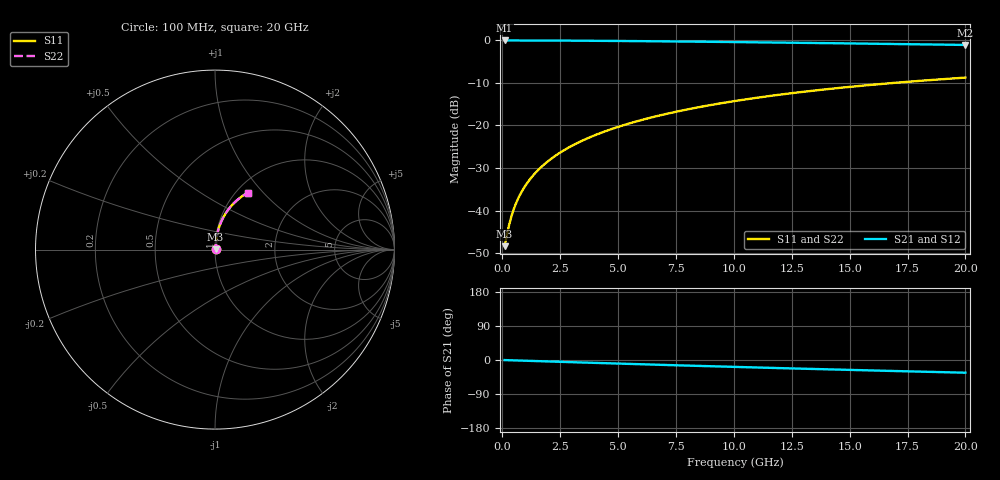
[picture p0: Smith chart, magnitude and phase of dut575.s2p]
! Touchstone file exported from HFSS 2024.1.0
!  File:  C:/UserFiles/LocalFiles/RDL_TSV_Batchsim/temp_RDL_top_575_1779681851.aedt
!  Generated:  12:06:36 PM May 25, 2026
!  Design:  RDL_top
!  Project:  temp_RDL_top_575_1779681851
!  Setup:  Setup1
!  Solution:  Sweep
! Variables:
!  dtsv = 10.80580581um
!  hbump = 3um
!  htsv = 54.47um
!  ldown = 100um
!  lrdl = 446.73um
!  p = 40
!  p1 = 44.04um
!  rhole = 1um
!  t = 450um
!  tdown = 3.915915916um
!  trdl = 3.34um
!  wdown = 15.38538539um
!  wrdl = 15.29um
# GHz S MA R 50.000000
! Terminal data exported
! Port[1] = Box2_T1
! Port[2] = Box2_T2
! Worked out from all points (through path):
!   200 points, 100 MHz to 20 GHz, reference 50 ohm
!   highest |S21| = -0.03 dB at 100 MHz (marker M1); lowest = -1.1 dB at 20 GHz (marker M2)
!   group delay of S21, straight-line fit = 4.64 ps
!   lowest |S11| = -48.3 dB at 100 MHz (marker M3), VSWR 1.01, Z = 50.3 + j0.204 ohm
!   |S11| at or under -10 dB: start of sweep to 16.91 GHz
!   |S22| runs from -48.3 to -8.8 dB; largest |S21 - S12| = 3.5e-15
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0.1  0.003825 32.0  0.9968 -0.2  0.9968 -0.2  0.003825 32.0
! Gamma 0 0 0 0
! Port Impedance 50 0 50 0
0.2  0.005224 50.5  0.9967 -0.4  0.9967 -0.4  0.005224 50.5
0.3  0.006908 60.3  0.9966 -0.6  0.9966 -0.6  0.006908 60.3
0.4  0.008685 65.9  0.9964 -0.8  0.9964 -0.8  0.008685 65.9
0.5  0.01049 69.6  0.9963 -1.0  0.9963 -1.0  0.01049 69.6
0.6  0.01232 72.2  0.9962 -1.2  0.9962 -1.2  0.01232 72.2
0.8  0.016 75.7  0.9959 -1.6  0.9959 -1.6  0.016 75.7
1.1  0.02157 78.6  0.9955 -2.1  0.9955 -2.1  0.02157 78.6
1.3  0.02531 79.8  0.9952 -2.5  0.9952 -2.5  0.02531 79.8
1.6  0.03096 81.0  0.9947 -3.1  0.9947 -3.1  0.03096 81.0
2.1  0.04044 82.0  0.9937 -4.0  0.9937 -4.0  0.04044 82.0
2.7  0.05188 82.4  0.9921 -5.2  0.9921 -5.2  0.05188 82.4
3.5  0.06724 82.4  0.9895 -6.7  0.9895 -6.7  0.06724 82.4
4.2  0.08076 82.0  0.9869 -8.0  0.9869 -8.0  0.08075 82.0
5  0.09627 81.4  0.9834 -9.5  0.9834 -9.5  0.09626 81.4
5.9  0.1138 80.4  0.979 -11.1  0.979 -11.1  0.1138 80.4
6.8  0.1313 79.4  0.9742 -12.7  0.9742 -12.7  0.1313 79.4
8.4  0.1623 77.3  0.9648 -15.5  0.9648 -15.5  0.1623 77.3
10.1  0.1949 74.8  0.9541 -18.3  0.9541 -18.3  0.1949 74.8
13.4  0.2559 69.9  0.9316 -23.7  0.9316 -23.7  0.2559 69.9
16.7  0.3128 64.9  0.9078 -28.7  0.9078 -28.7  0.3128 64.9
20  0.3649 60.1  0.8831 -33.5  0.8831 -33.5  0.3649 60.1
